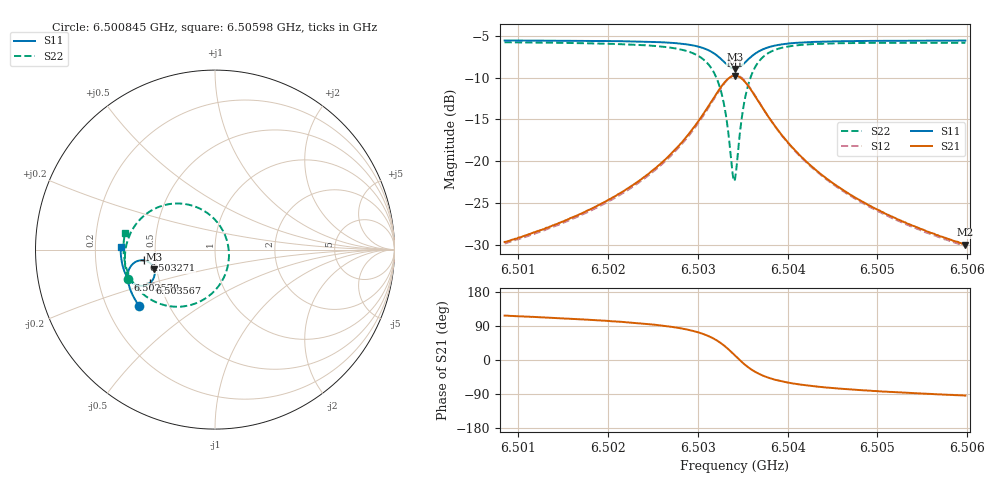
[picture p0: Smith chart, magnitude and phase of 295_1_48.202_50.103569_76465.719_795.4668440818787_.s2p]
#  HZ  S  RI  R  50.00
! Rohde & Schwarz Vector Network Analyzer
! Rohde-Schwarz,ZNB20-2Port,1311601062101988,3.16
! Created: UTC 3/20/2024, 11:49:14 AM
! freq[Hz]  re:S11  im:S11  re:S21  im:S21  re:S12  im:S12  re:S22  im:S22
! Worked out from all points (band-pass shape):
!   401 points, 6.500845 GHz to 6.50598 GHz, reference 50 ohm
!   highest |S21| = -9.78 dB at 6.503413 GHz (marker M1); lowest = -30.0 dB at 6.50598 GHz (marker M2)
!   |S21| within 3 dB of the highest: 6.503155 GHz to 6.503669 GHz (513.7 kHz wide, 0.0079 % of centre)
!   lowest |S11| = -9.0 dB at 6.503413 GHz (marker M3), VSWR 2.11, Z = 24.2 - j6.05 ohm
!   |S11| at or under -10 dB: nowhere
!   |S22| runs from -22.4 to -5.8 dB; largest |S21 - S12| = 0.011
!   S11 on the Smith chart (normalised r, x): 6.500845 GHz: 0.34, -0.30; 6.502578 GHz: 0.33, -0.15; 6.503271 GHz: 0.43, -0.06; 6.503567 GHz: 0.44, -0.20; 6.50598 GHz: 0.31, +0.01
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6.5008453e9  -0.4214 -0.3157  -0.0151 0.0293  -0.0133 0.0294  -0.4867 -0.1636
6.5017053e9  -0.4591 -0.253  -0.0144 0.0466  -0.012 0.0463  -0.5016 -0.0737
6.5021803e9  -0.4762 -0.2115  -0.0117 0.0657  -0.00868 0.0647  -0.4998 -0.00776
6.5025654e9  -0.4857 -0.1698  -0.00294 0.0947  0.000573 0.0925  -0.4812 0.0674
6.5025782e9  -0.4859 -0.1681  -0.00256 0.0961  0.00124 0.0937  -0.48 0.0704
6.5028221e9  -0.4853 -0.133  0.0158 0.1289  0.0195 0.1253  -0.4416 0.1399
6.5030018e9  -0.4739 -0.0999  0.0505 0.165  0.0535 0.1597  -0.3736 0.2058
6.5031687e9  -0.4393 -0.0668  0.1275 0.1982  0.1288 0.1918  -0.2315 0.2563
6.5032713e9  -0.3968 -0.0601  0.2124 0.1894  0.2127 0.1839  -0.084 0.2284
6.5033227e9  -0.3714 -0.0686  0.2604 0.1613  0.2613 0.1567  -0.00431 0.171
6.5033869e9  -0.3451 -0.0948  0.3077 0.0982  0.3101 0.0933  0.0667 0.0499
6.5034125e9  -0.3388 -0.1092  0.3176 0.0664  0.3206 0.0607  0.0773 -0.00959
6.5034254e9  -0.337 -0.1169  0.3203 0.0496  0.3236 0.0435  0.0779 -0.04
6.5035024e9  -0.343 -0.1611  0.3032 -0.0437  0.3053 -0.0535  0.0202 -0.2034
6.5035666e9  -0.364 -0.1867  0.2611 -0.0971  0.2597 -0.108  -0.0749 -0.2847
6.5036693e9  -0.4029 -0.2015  0.1874 -0.1327  0.1821 -0.142  -0.2229 -0.3181
6.5038361e9  -0.4485 -0.1917  0.1069 -0.1298  0.1 -0.1346  -0.3678 -0.2721
6.5040158e9  -0.4756 -0.1704  0.0631 -0.1101  0.0571 -0.1123  -0.4389 -0.208
6.5042726e9  -0.4962 -0.1404  0.0335 -0.0864  0.0289 -0.0868  -0.4817 -0.1364
6.5046705e9  -0.5121 -0.0995  0.0143 -0.0629  0.0111 -0.0624  -0.5044 -0.0598
6.5051326e9  -0.5211 -0.0571  0.00495 -0.0472  0.00272 -0.0465  -0.51 0.00377
6.5059798e9  -0.5258 0.0142  -0.00208 -0.0316  -0.00345 -0.0309  -0.5016 0.0922
